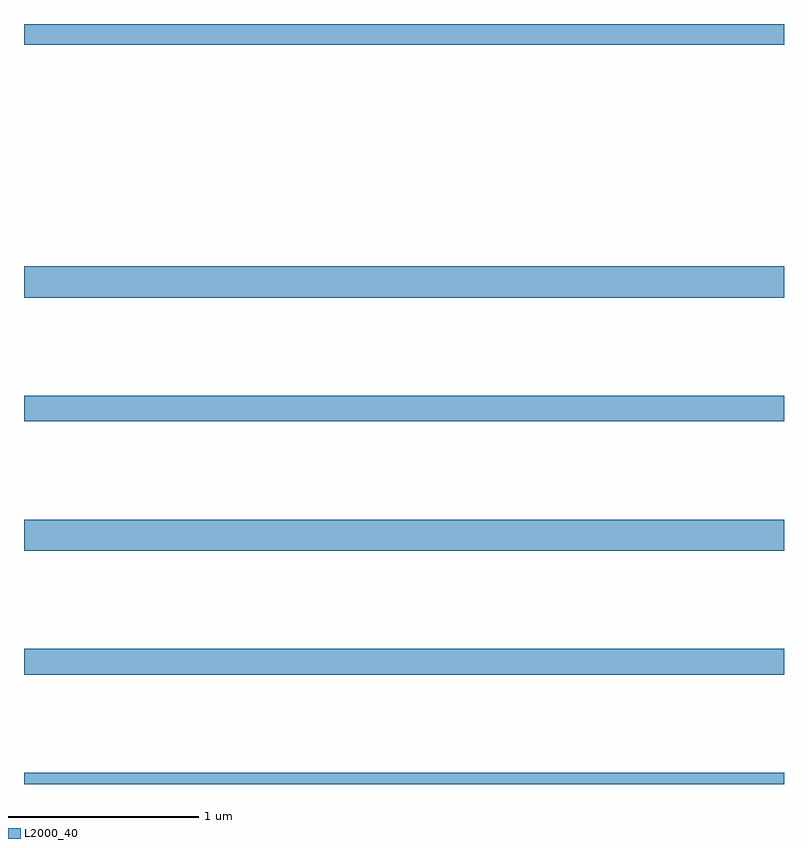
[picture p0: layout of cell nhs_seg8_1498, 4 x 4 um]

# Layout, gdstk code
import gdstk
lib = gdstk.Library(unit=1e-6, precision=1e-09)
def R(c, l, rs):  # rectangles x0, y0, x1, y1
    for r in rs: c.add(gdstk.rectangle(r[:2], r[2:], *l))
L2000_40 = (2000, 40)

nhs_seg8_1498 = lib.new_cell('nhs_seg8_1498')
R(nhs_seg8_1498, L2000_40, [(205,1153.9,209,1153.96), (205,1154.476,209,1154.612), (205,1155.128,209,1155.292), (205,1155.808,209,1155.944), (205,1156.46,209,1156.624), (205,1157.792,209,1157.9)])

lib.write_gds('nhs_seg8_1498.gds')
